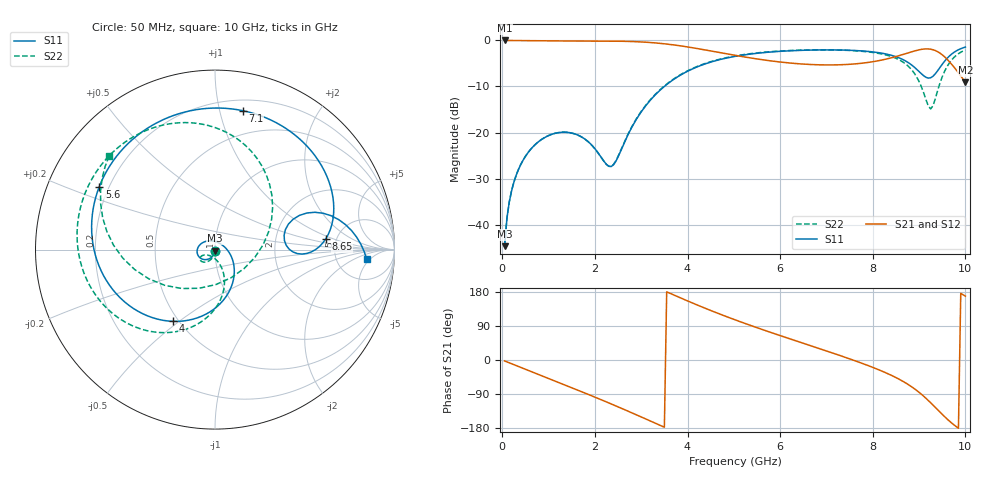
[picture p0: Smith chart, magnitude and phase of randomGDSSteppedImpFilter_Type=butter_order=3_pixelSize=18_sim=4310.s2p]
! freq	dB(S11)	phase(S11)	dB(S12)	phase(S12)
!  dB(S21)	phase(S21)	dB(S22)	phase(S22)
!S-par simulation data
#  GHz  S  DB  R 50
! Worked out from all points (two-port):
!   200 points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, 50 MHz to 10 GHz, reference 50 ohm
!   highest |S21| = -0.01 dB at 50 MHz (marker M1); lowest = -9.1 dB at 10 GHz (marker M2)
!   |S21| within 3 dB of the highest: start of sweep to 4.896 GHz; 8.667 GHz to 9.485 GHz (817.1 MHz wide, 9 % of centre)
!   lowest |S11| = -44.7 dB at 50 MHz (marker M3), VSWR 1.01, Z = 50 - j0.584 ohm
!   |S11| at or under -10 dB: start of sweep to 3.498 GHz
!   |S22| runs from -44.5 to -2.0 dB; largest |S21 - S12| = 0
!   S11 on the Smith chart (normalised r, x): 50 MHz: 1.00, -0.01; 4 GHz: 0.47, -0.48; 5.6 GHz: 0.16, +0.25; 7.1 GHz: 0.29, +1.18; 8.65 GHz: 4.10, +0.80; 10 GHz: 11, -4
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0.05  -44.67 -89.4  -0.01 -2.5  -0.01 -2.5  -44.45 -89.3
0.1  -38.61 -94.2  -0.01 -5.0  -0.01 -5.0  -38.57 -92.8
0.2  -32.67 -101.1  -0.02 -9.9  -0.02 -9.9  -32.66 -97.9
0.55  -24.44 -121.7  -0.05 -26.9  -0.05 -26.9  -24.42 -113.0
1.15  -20.14 -157.3  -0.11 -56.1  -0.11 -56.1  -20.14 -136.6
1.75  -21.19 161.0  -0.13 -85.5  -0.13 -85.5  -21.20 -153.8
2.35  -27.39 60.0  -0.15 -115.8  -0.15 -115.8  -27.34 -112.3
2.9  -17.06 -41.1  -0.28 -144.9  -0.28 -144.9  -16.93 -70.4
3.4  -10.86 -80.8  -0.63 -172.0  -0.63 -172.0  -10.76 -84.9
4  -6.69 -120.2  -1.41 155.9  -1.41 155.9  -6.60 -109.4
5.05  -3.42 179.8  -3.28 104.9  -3.28 104.9  -3.33 -150.5
5.6  -2.69 151.4  -4.17 81.0  -4.17 81.0  -2.60 -169.6
6.7  -2.09 97.7  -5.25 36.0  -5.25 36.0  -2.05 154.9
7.1  -2.05 78.7  -5.32 19.8  -5.32 19.8  -2.05 141.8
7.8  -2.30 45.4  -4.91 -10.1  -4.91 -10.1  -2.39 116.4
8.35  -3.09 19.2  -3.91 -37.5  -3.91 -37.5  -3.34 90.2
8.65  -4.15 5.6  -3.06 -56.2  -3.06 -56.2  -4.68 69.6
9.05  -7.24 -1.7  -1.94 -90.3  -1.94 -90.3  -10.07 18.1
9.25  -8.10 11.8  -1.90 -112.9  -1.90 -112.9  -14.86 -60.3
9.4  -6.59 21.3  -2.44 -131.4  -2.44 -131.4  -10.91 -130.4
9.7  -2.99 13.6  -5.14 -166.0  -5.14 -166.0  -4.28 170.5
10  -1.44 -3.6  -9.09 168.5  -9.09 168.5  -2.07 138.4
